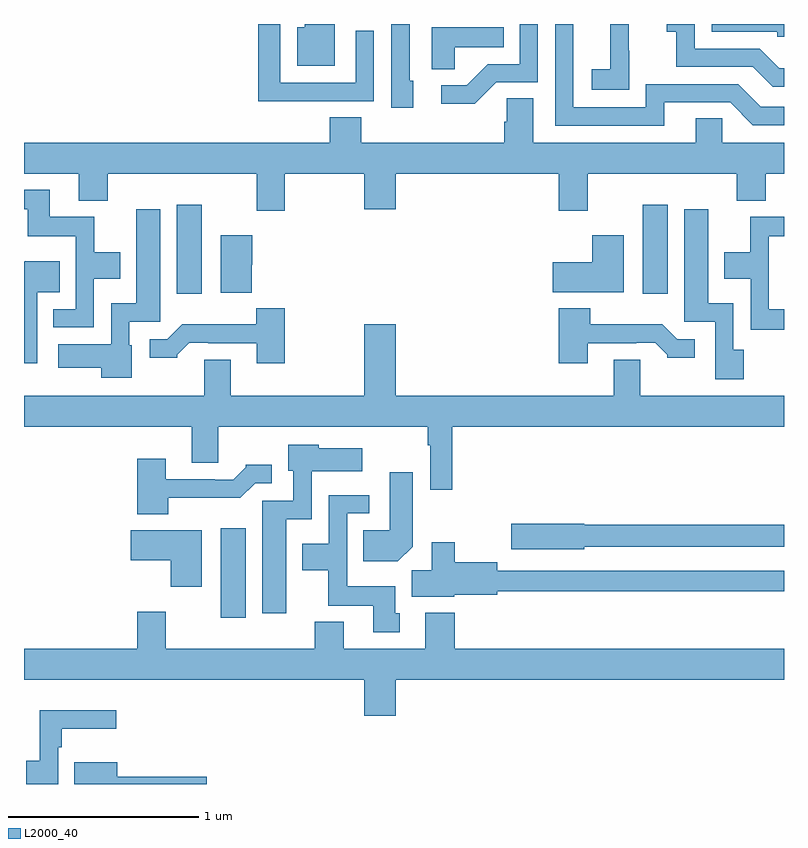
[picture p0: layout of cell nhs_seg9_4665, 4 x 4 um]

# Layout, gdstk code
import gdstk
lib = gdstk.Library(unit=1e-6, precision=1e-09)
def R(c, l, rs):  # rectangles x0, y0, x1, y1
    for r in rs: c.add(gdstk.rectangle(r[:2], r[2:], *l))
def P(c, l, *ps):  # polygons
    for p in ps: c.add(gdstk.Polygon(p, *l))
L2000_40 = (2000, 40)

nhs_seg9_4665 = lib.new_cell('nhs_seg9_4665')
R(nhs_seg9_4665, L2000_40, [(380.036,1235.376,380.167,1235.845), (379.805,1237.08,379.936,1237.549), (382.256,1237.08,382.387,1237.549)])
P(nhs_seg9_4665, L2000_40, [(383,1238.5),(382.62,1238.5),(382.62,1238.46),(382.965,1238.46),(382.965,1238.433),(383,1238.433)],
  [(382.185,1238.359),(382.184,1238.359),(382.184,1238.5),(382.086,1238.5),(382.086,1238.492),(382.085,1238.492),(382.085,1238.263),(381.987,1238.263),(381.987,1238.153),(382.185,1238.153)],
  [(383,1238.266),(382.976,1238.266),(382.872,1238.37),(382.53,1238.37),(382.53,1238.5),(382.383,1238.5),(382.383,1238.459),(382.432,1238.459),(382.432,1238.274),(382.835,1238.274),(382.94,1238.169),(383,1238.169)],
  [(380.525,1238.094),(380.841,1238.094),(380.841,1238.464),(380.745,1238.464),(380.745,1238.19),(380.349,1238.19),(380.349,1238.5),(380.233,1238.5),(380.233,1238.093),(380.525,1238.093)],
  [(381.486,1238.193),(381.705,1238.193),(381.705,1238.5),(381.609,1238.5),(381.609,1238.289),(381.44,1238.289),(381.329,1238.178),(381.195,1238.178),(381.195,1238.081),(381.373,1238.081)],
  [(380.635,1238.5),(380.477,1238.5),(380.477,1238.482),(380.438,1238.482),(380.438,1238.279),(380.635,1238.279)],
  [(382.369,1238.088),(382.716,1238.088),(382.836,1237.968),(383,1237.968),(383,1238.064),(382.878,1238.064),(382.758,1238.184),(382.272,1238.184),(382.272,1238.061),(381.891,1238.061),(381.891,1238.5),(381.795,1238.5),(381.795,1237.965),(382.369,1237.965)],
  [(381.049,1238.202),(381.03,1238.202),(381.03,1238.5),(380.934,1238.5),(380.934,1238.058),(381.049,1238.058)],
  [(381.267,1238.378),(381.524,1238.378),(381.524,1238.482),(381.146,1238.482),(381.146,1238.263),(381.267,1238.263)],
  [(380.373,1237.712),(380.792,1237.712),(380.792,1237.524),(380.956,1237.524),(380.956,1237.712),(381.815,1237.712),(381.815,1237.518),(381.967,1237.518),(381.967,1237.712),(382.751,1237.712),(382.751,1237.571),(382.903,1237.571),(382.903,1237.712),(383,1237.712),(383,1237.876),(382.674,1237.876),(382.674,1238.003),(382.535,1238.003),(382.535,1237.876),(381.679,1237.876),(381.679,1238.108),(381.54,1238.108),(381.54,1237.985),(381.527,1237.985),(381.527,1237.876),(380.774,1237.876),(380.774,1238.009),(380.609,1238.009),(380.609,1237.876),(379,1237.876),(379,1237.712),(379.289,1237.712),(379.289,1237.571),(379.442,1237.571),(379.442,1237.712),(380.225,1237.712),(380.225,1237.518),(380.373,1237.518)],
  [(379.368,1237.16),(379.507,1237.16),(379.507,1237.3),(379.371,1237.3),(379.371,1237.486),(379.135,1237.486),(379.135,1237.627),(379,1237.627),(379,1237.524),(379.019,1237.524),(379.019,1237.382),(379.272,1237.382),(379.272,1236.999),(379.155,1236.999),(379.155,1236.903),(379.368,1236.903)],
  [(379.567,1236.81),(379.554,1236.81),(379.554,1236.933),(379.717,1236.933),(379.717,1237.525),(379.592,1237.525),(379.592,1237.03),(379.458,1237.03),(379.458,1236.814),(379.179,1236.814),(379.179,1236.692),(379.406,1236.692),(379.406,1236.638),(379.567,1236.638)],
  [(382.787,1236.786),(382.734,1236.786),(382.734,1237.03),(382.6,1237.03),(382.6,1237.525),(382.475,1237.525),(382.475,1236.933),(382.638,1236.933),(382.638,1236.63),(382.787,1236.63)],
  [(383,1236.999),(382.92,1236.999),(382.92,1237.382),(383,1237.382),(383,1237.486),(382.822,1237.486),(382.822,1237.3),(382.685,1237.3),(382.685,1237.16),(382.824,1237.16),(382.824,1236.891),(383,1236.891)],
  [(382.156,1237.387),(381.992,1237.387),(381.992,1237.246),(381.783,1237.246),(381.783,1237.088),(382.156,1237.088)],
  [(380.198,1237.233),(380.2,1237.233),(380.2,1237.387),(380.036,1237.387),(380.036,1237.085),(380.198,1237.085)],
  [(379.069,1237.088),(379.187,1237.088),(379.187,1237.252),(379.004,1237.252),(379,1237.248),(379,1236.714),(379.069,1236.714)],
  [(381.967,1236.819),(382.223,1236.819),(382.223,1236.822),(382.322,1236.822),(382.386,1236.758),(382.386,1236.743),(382.531,1236.743),(382.531,1236.84),(382.437,1236.84),(382.359,1236.919),(381.98,1236.919),(381.98,1237.003),(381.815,1237.003),(381.815,1236.714),(381.967,1236.714)],
  [(380.373,1237.003),(380.223,1237.003),(380.223,1236.919),(379.834,1236.919),(379.755,1236.84),(379.662,1236.84),(379.662,1236.743),(379.806,1236.743),(379.806,1236.758),(379.87,1236.822),(379.969,1236.822),(379.969,1236.819),(380.225,1236.819),(380.225,1236.714),(380.373,1236.714)],
  [(381.254,1236.38),(383,1236.38),(383,1236.544),(382.243,1236.544),(382.243,1236.734),(382.103,1236.734),(382.103,1236.544),(380.956,1236.544),(380.956,1236.919),(380.792,1236.919),(380.792,1236.544),(380.089,1236.544),(380.089,1236.734),(379.949,1236.734),(379.949,1236.544),(379,1236.544),(379,1236.38),(379.883,1236.38),(379.883,1236.19),(380.023,1236.19),(380.023,1236.38),(381.126,1236.38),(381.126,1236.284),(381.138,1236.284),(381.138,1236.048),(381.254,1236.048)],
  [(380.38,1235.894),(380.514,1235.894),(380.514,1236.146),(380.779,1236.146),(380.779,1236.268),(380.55,1236.268),(380.55,1236.286),(380.39,1236.286),(380.39,1236.15),(380.418,1236.15),(380.418,1235.991),(380.255,1235.991),(380.255,1235.4),(380.38,1235.4)],
  [(379.76,1236.006),(380.139,1236.006),(380.217,1236.084),(380.305,1236.084),(380.305,1236.181),(380.166,1236.181),(380.166,1236.166),(380.102,1236.102),(380.003,1236.102),(380.003,1236.105),(379.747,1236.105),(379.747,1236.211),(379.595,1236.211),(379.595,1235.921),(379.76,1235.921)],
  [(381.046,1235.75),(381.046,1236.142),(380.924,1236.142),(380.924,1235.836),(380.785,1235.836),(380.785,1235.672),(380.968,1235.672)],
  [(380.977,1235.4),(380.953,1235.4),(380.953,1235.542),(380.7,1235.542),(380.7,1235.925),(380.818,1235.925),(380.818,1236.021),(380.604,1236.021),(380.604,1235.764),(380.465,1235.764),(380.465,1235.624),(380.602,1235.624),(380.602,1235.438),(380.837,1235.438),(380.837,1235.298),(380.977,1235.298)],
  [(381.948,1235.748),(383,1235.748),(383,1235.864),(381.948,1235.864),(381.948,1235.87),(381.564,1235.87),(381.564,1235.735),(381.948,1235.735)],
  [(379.936,1235.836),(379.563,1235.836),(379.563,1235.678),(379.772,1235.678),(379.772,1235.538),(379.936,1235.538)],
  [(381.264,1235.495),(381.49,1235.495),(381.49,1235.514),(383,1235.514),(383,1235.622),(381.49,1235.622),(381.49,1235.666),(381.268,1235.666),(381.268,1235.773),(381.146,1235.773),(381.146,1235.624),(381.041,1235.624),(381.041,1235.486),(381.264,1235.486)],
  [(380.956,1235.048),(383,1235.048),(383,1235.212),(381.266,1235.212),(381.266,1235.401),(381.113,1235.401),(381.113,1235.212),(380.683,1235.212),(380.683,1235.353),(380.531,1235.353),(380.531,1235.212),(379.747,1235.212),(379.747,1235.407),(379.595,1235.407),(379.595,1235.212),(379,1235.212),(379,1235.048),(380.792,1235.048),(380.792,1234.86),(380.956,1234.86)],
  [(379.179,1234.694),(379.199,1234.694),(379.199,1234.79),(379.486,1234.79),(379.486,1234.888),(379.083,1234.888),(379.083,1234.623),(379.013,1234.623),(379.013,1234.5),(379.179,1234.5)],
  [(379.963,1234.538),(379.492,1234.538),(379.492,1234.615),(379.264,1234.615),(379.264,1234.5),(379.963,1234.5)])

lib.write_gds('nhs_seg9_4665.gds')
